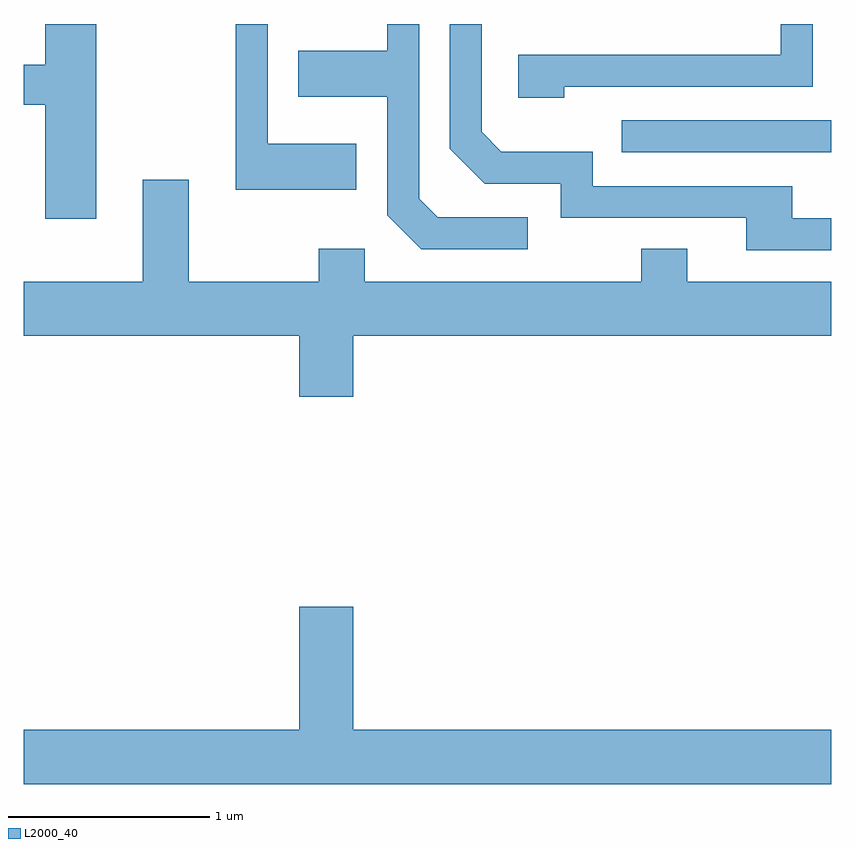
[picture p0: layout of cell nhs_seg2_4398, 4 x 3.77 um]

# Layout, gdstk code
import gdstk
lib = gdstk.Library(unit=1e-6, precision=1e-09)
def R(c, l, rs):  # rectangles x0, y0, x1, y1
    for r in rs: c.add(gdstk.rectangle(r[:2], r[2:], *l))
def P(c, l, *ps):  # polygons
    for p in ps: c.add(gdstk.Polygon(p, *l))
L2000_40 = (2000, 40)

nhs_seg2_4398 = lib.new_cell('nhs_seg2_4398')
R(nhs_seg2_4398, L2000_40, [(316.573,1109.166,317.611,1109.324)])
P(nhs_seg2_4398, L2000_40, [(316.108,1108.844),(315.662,1108.844),(315.569,1108.937),(315.569,1109.802),(315.411,1109.802),(315.411,1109.669),(314.971,1109.669),(314.971,1109.441),(315.411,1109.441),(315.411,1108.854),(315.579,1108.686),(316.108,1108.686)],
  [(315.259,1109.209),(314.819,1109.209),(314.819,1109.802),(314.661,1109.802),(314.661,1108.981),(315.259,1108.981)],
  [(317.611,1108.839),(317.419,1108.839),(317.419,1108.999),(316.429,1108.999),(316.429,1109.169),(315.977,1109.169),(315.879,1109.267),(315.879,1109.802),(315.721,1109.802),(315.721,1109.184),(315.894,1109.011),(316.271,1109.011),(316.271,1108.841),(317.191,1108.841),(317.191,1108.681),(317.611,1108.681)],
  [(316.289,1109.491),(317.519,1109.491),(317.519,1109.802),(317.361,1109.802),(317.361,1109.649),(316.061,1109.649),(316.061,1109.436),(316.289,1109.436)],
  [(313.969,1109.802),(313.716,1109.802),(313.716,1109.599),(313.611,1109.599),(313.611,1109.401),(313.716,1109.401),(313.716,1108.836),(313.969,1108.836)],
  [(315.244,1108.256),(317.611,1108.256),(317.611,1108.524),(316.899,1108.524),(316.899,1108.689),(316.671,1108.689),(316.671,1108.524),(315.299,1108.524),(315.299,1108.689),(315.071,1108.689),(315.071,1108.524),(314.429,1108.524),(314.429,1109.029),(314.201,1109.029),(314.201,1108.524),(313.611,1108.524),(313.611,1108.256),(314.976,1108.256),(314.976,1107.956),(315.244,1107.956)],
  [(317.611,1106.304),(315.244,1106.304),(315.244,1106.914),(314.976,1106.914),(314.976,1106.304),(313.611,1106.304),(313.611,1106.036),(317.611,1106.036)])

lib.write_gds('nhs_seg2_4398.gds')
